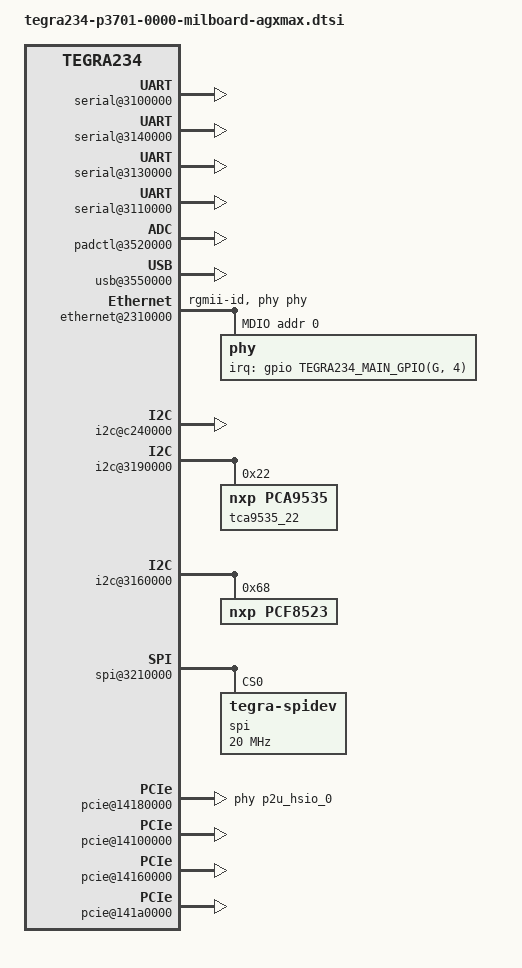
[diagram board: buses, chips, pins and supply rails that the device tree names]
// SPDX-License-Identifier: GPL-2.0

#include <dt-bindings/input/linux-event-codes.h>
#include <dt-bindings/input/gpio-keys.h>

/ {
	aliases {
		serial3 = &uarte; //serial@3140000
		serial4 = &uartd; //serial@3130000
		rtc2 = "/bus@0/i2c@3160000/pcf8523@68";
	};

	regulator-vdd-3v3-pcie {
		/delete-property/ regulator-boot-on;
		/delete-property/ gpio;
		regulator-always-on;
	};
	regulator-vdd-12v-pcie {
		/delete-property/ regulator-boot-on;
		/delete-property/ gpio;
		regulator-always-on;
	};
	regulator@3 {
		regulator-boot-on;
	};

	bus@0 {
		serial@3100000 { // UART1
			status = "okay";
			compatible = "nvidia,tegra194-hsuart";
			reset-names = "serial";
			clock-names = "serial";
		};

		serial@3140000 { // UART2
			status = "okay";
			compatible = "nvidia,tegra194-hsuart";
			reset-names = "serial";
			clock-names = "serial";
		};

		serial@3130000 { // UART4
			status = "okay";
			compatible = "nvidia,tegra194-hsuart";
			reset-names = "serial";
			clock-names = "serial";
		};

		serial@3110000 { // UART5
			status = "okay";
			compatible = "nvidia,tegra194-hsuart";
			reset-names = "serial";
			clock-names = "serial";
		};

		padctl@3520000 {
			status = "okay";

			ports {
				usb2-0 {
					status = "okay";
					vbus-supply = <&vdd_5v0_sys>;
					mode = "otg";
					usb-role-switch;
					/delete-node/ port;
					connector {
						compatible = "usb-b-connector", "gpio-usb-b-connector";
						label = "micro-USB";
						type = "micro";
						vbus-gpios = <&gpio TEGRA234_MAIN_GPIO(Z, 1) GPIO_ACTIVE_LOW>;
					};
				};

				usb2-1 {
					/delete-node/ port;
				};

				usb3-0 { // unused
					nvidia,usb2-companion = <1>;
					status = "okay";
					/delete-node/ port;
				};

				usb3-1 {
					nvidia,usb2-companion = <0>;
					status = "okay";
					/delete-node/ port;
				};

				usb3-2 {
					nvidia,usb2-companion = <2>;
					status = "okay";
				};
			};
		};

		usb@3550000 {
			status = "okay";
			phys = <&{/bus@0/padctl@3520000/pads/usb2/lanes/usb2-0}>,
			       <&{/bus@0/padctl@3520000/pads/usb3/lanes/usb3-1}>;
			phy-names = "usb2-0", "usb3-1";
		};

		//ethernet@6900000 // already disabled
		//ethernet@6a00000 // already disabled
		//ethernet@6b00000 // already disabled

		// 10G configured in tegra234-p3737-0000+p3701-0000.dts <- tegra234-p3737-0000.dtsi
		ethernet@2310000 { //EQOS
			status = "okay";

			nvidia,mac-addr-idx = <0>;
			nvidia,pause_frames = <1>;
			local-mac-address = [1a 2b 3c 4d 5e 6f];
			nvidia,phy-reset-gpio = <&gpio TEGRA234_MAIN_GPIO(G, 5) 0>;
			phy-mode = "rgmii-id";
			phy-handle = <&phy>;
			nvidia,max-platform-mtu = <16383>; //8000

			mdio {
				compatible = "nvidia,eqos-mdio";
				#address-cells = <1>;
				#size-cells = <0>;

				phy: phy@0 {
					reg = <0>;
					nvidia,phy-rst-pdelay-msec = <224>; /* msec */
					nvidia,phy-rst-duration-usec = <10000>; /* usec */
					interrupt-parent = <&gpio>;
					interrupts = <TEGRA234_MAIN_GPIO(G, 4) IRQ_TYPE_LEVEL_LOW>;
					marvell,copper-mode;
					/* Setup LED[2] as interrupt pin (active low) */
					marvell,reg-init = <0x03 0x12 0x7fff 0x880>;
				};
			};
		};

		i2c@c240000 {
			status = "okay";
			/delete-node/ typec@8;
		};

		i2c@3190000 {
			tca9535_22: tca9535@22 {
				compatible = "nxp,pca9535";
				reg = <0x22>;
				gpio-controller;
				#gpio-cells = <2>;
				gpio-line-names = 
				    "SERIAL_CH0.RS485/RS232#",
				    "SERIAL_CH0.TERM",
				    "SERIAL_CH1.RS485/RS232#",
				    "SERIAL_CH1.TERM",
				    "SERIAL_CH2.RS485/RS232#",
				    "SERIAL_CH2.TERM",
				    "SERIAL_CH3.RS485/RS232#",
				    "SERIAL_CH3.TERM",
				    "DIGITAL_IO_CH0",
				    "DIGITAL_IO_CH1",
				    "DIGITAL_IO_CH2",
				    "DIGITAL_IO_CH3",
				    "DIGITAL_IO_CH4",
				    "DIGITAL_IO_CH5",
				    "DIGITAL_IO_CH6",
				    "DIGITAL_IO_CH7";

				/*
				serial_default_config {
					gpio-hog;
					gpios = <0 0 1 0 2 0 3 0 4 0 5 0 6 0 7 0>;
					output-low; // for RS232
					//output-high; // for RS422
				};
				*/
			};
		};

		i2c@3160000 {
			status = "okay";

			// 0x68 - PCF8523 RTC
			pcf8523@68 {
				status = "okay";
				compatible = "nxp,pcf8523";
				reg = <0x68>;
			};

			// 0x56 - EEPROM CAT24C04WI-GT3
			// 0x6B - 2536030320001 6-AXIS IMU & TEMP SENSOR
		};

		spi@3210000 {
			status = "okay";

			spi@0 {
				status = "okay";
				compatible = "tegra-spidev";
				reg = <0x0>;
				spi-max-frequency = <20000000>;

				controller-data {
					nvidia,enable-hw-based-cs;
					nvidia,rx-clk-tap-delay = <0x10>;
					nvidia,tx-clk-tap-delay = <0x0>;
				};
			};
		};

		pcie@14180000 { // PCIe x1 (C0) - Ethernet
			status = "okay";
			phys = <&p2u_hsio_0>;
			phy-names = "p2u-0";
			nvidia,max-speed = <2>; // i210 is GEN2
		};

		pcie@14100000 { // PCIe x1 (C1) - Ethernet
			status = "okay";
			nvidia,max-speed = <2>; // i210 is GEN2
		};

		pcie@14160000 { //* PCIe x4 (C4) - M.2 Key-M
			status = "okay";
		};

		pcie@141a0000 { // PCIe x8 (C5) - M.2 Key-M
			status = "okay";
			/delete-property/ vpcie3v3-supply;
			/delete-property/ vpcie12v-supply;
		};

		pcie@141e0000 { // PCIe x8 (C7)
			status = "disabled";
		};
	};
};
